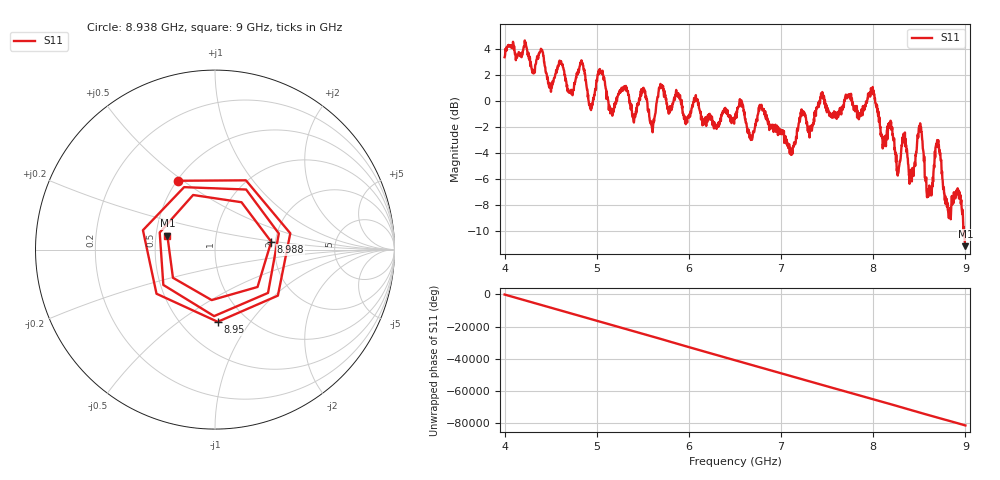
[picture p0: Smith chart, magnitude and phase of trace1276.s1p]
! Created with skrf 1.8.0 (http://scikit-rf.org).
# Hz S RI R 50.0
!freq ReS11 ImS11
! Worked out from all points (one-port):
!   1601 points, 4 GHz to 9 GHz, reference 50 ohm
!   lowest |S11| = -11.2 dB at 9 GHz (marker M1), VSWR 1.76, Z = 28.7 + j4.77 ohm
!   |S11| at or under -10 dB: 8.982332 GHz to 8.987997 GHz (5.665 MHz wide, 0.063 % of centre); 8.98804 GHz to end of sweep
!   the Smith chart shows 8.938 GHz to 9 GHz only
!   S11 on the Smith chart (normalised r, x): 8.938 GHz: 0.50, +0.48; 8.95 GHz: 0.74, -0.71; 8.988 GHz: 1.90, +0.18; 9 GHz: 0.57, +0.10
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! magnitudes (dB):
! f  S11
! 4 GHz  3.4
! 4.625 GHz  2.8
! 4.719 GHz  0.6
! 4.841 GHz  3.0
! 4.934 GHz  -0.6
! 5.038 GHz  2.3
! 5.156 GHz  -0.9
! 5.25 GHz  0.8
! 5.403 GHz  -1.7
! 5.509 GHz  1.0
! 5.6 GHz  -2.1
! 5.694 GHz  1.2
! 5.875 GHz  0.4
! 6.5 GHz  -1.3
! 7.125 GHz  -3.9
! 7.231 GHz  -1.1
! 7.75 GHz  0.4
! 7.994 GHz  1.1
! 8.112 GHz  -3.1
! 8.375 GHz  -4.4
! 8.506 GHz  -2.3
! 8.603 GHz  -7.0
! 8.7 GHz  -3.4
! 8.809 GHz  -8.4
! 8.938 GHz  -7.2
! 8.95 GHz  -7.9
! 8.988 GHz  -10.0
! 9 GHz  -11.2
